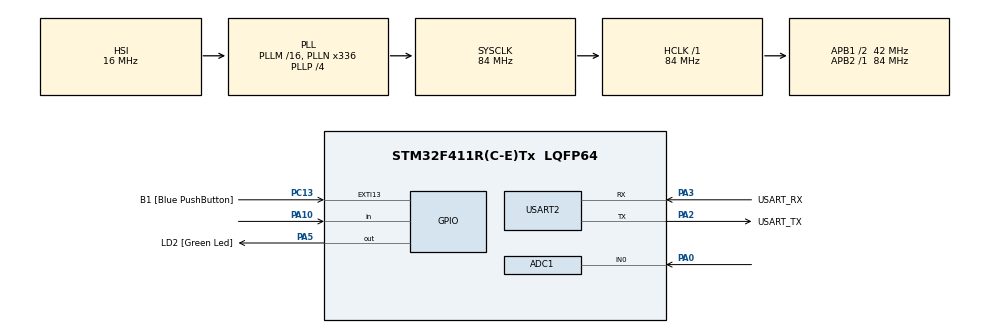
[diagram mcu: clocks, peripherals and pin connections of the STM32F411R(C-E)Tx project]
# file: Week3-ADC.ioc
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ADC1.Channel-0\#ChannelRegularConversion=ADC_CHANNEL_0
ADC1.NbrOfConversionFlag=1
ADC1.Rank-0\#ChannelRegularConversion=1
ADC1.SamplingTime-0\#ChannelRegularConversion=ADC_SAMPLETIME_3CYCLES
ADC1.master=1
Mcu.Family=STM32F4
Mcu.Name=STM32F411R(C-E)Tx
Mcu.Package=LQFP64
NVIC.PriorityGroup=NVIC_PRIORITYGROUP_0
PA0-WKUP.Signal=ADCx_IN0
PA10.Signal=GPIO_Input
PA13.GPIO_Label=TMS
PA13.Mode=Serial_Wire
PA13.Signal=SYS_JTMS-SWDIO
PA14.GPIO_Label=TCK
PA14.Mode=Serial_Wire
PA14.Signal=SYS_JTCK-SWCLK
PA2.GPIO_Label=USART_TX
PA2.Mode=Asynchronous
PA2.Signal=USART2_TX
PA3.GPIO_Label=USART_RX
PA3.Mode=Asynchronous
PA3.Signal=USART2_RX
PA5.GPIO_Label=LD2 [Green Led]
PA5.Signal=GPIO_Output
PB3.GPIO_Label=SWO
PB3.Signal=SYS_JTDO-SWO
PC13-ANTI_TAMP.GPIO_Label=B1 [Blue PushButton]
PC13-ANTI_TAMP.GPIO_ModeDefaultEXTI=GPIO_MODE_IT_FALLING
PC13-ANTI_TAMP.Signal=GPXTI13
PC14-OSC32_IN.Mode=LSE-External-Oscillator
PC14-OSC32_IN.Signal=RCC_OSC32_IN
PC15-OSC32_OUT.Mode=LSE-External-Oscillator
PC15-OSC32_OUT.Signal=RCC_OSC32_OUT
PH0\ -\ OSC_IN.Mode=HSE-External-Clock-Source
PH0\ -\ OSC_IN.Signal=RCC_OSC_IN
PH1\ -\ OSC_OUT.Mode=HSE-External-Clock-Source
PH1\ -\ OSC_OUT.Signal=RCC_OSC_OUT
ProjectManager.HeapSize=0x200
ProjectManager.StackSize=0x400
ProjectManager.TargetToolchain=STM32CubeIDE
RCC.48MHZClocksFreq_Value=84000000
RCC.AHBFreq_Value=84000000
RCC.APB1CLKDivider=RCC_HCLK_DIV2
RCC.APB1Freq_Value=42000000
RCC.APB1TimFreq_Value=84000000
RCC.APB2Freq_Value=84000000
RCC.APB2TimFreq_Value=84000000
RCC.CortexFreq_Value=84000000
RCC.FLatency-AdvancedSettings=FLASH_LATENCY_2
RCC.HCLKFreq_Value=84000000
RCC.HSE_VALUE=8000000
RCC.HSI_VALUE=16000000
RCC.PLLN=336
RCC.PLLP=RCC_PLLP_DIV4
RCC.SYSCLKFreq_VALUE=84000000
RCC.SYSCLKSource=RCC_SYSCLKSOURCE_PLLCLK
RCC.VCOOutputFreq_Value=336000000
SH.ADCx_IN0.0=ADC1_IN0,IN0
USART2.VirtualMode=VM_ASYNC
VP_ADC1_TempSens_Input.Mode=IN-TempSens
board=NUCLEO-F411RE

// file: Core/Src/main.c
/* USER CODE BEGIN Header */
/**
  ******************************************************************************
  * @file           : main.c
  * @brief          : Main program body
  ******************************************************************************
  * @attention
  *
  * <h2><center>&copy; Copyright (c) 2021 STMicroelectronics.
  * All rights reserved.</center></h2>
  *
  * This software component is licensed by ST under BSD 3-Clause license,
  * the "License"; You may not use this file except in compliance with the
  * License. You may obtain a copy of the License at:
  *                        opensource.org/licenses/BSD-3-Clause
  *
  ******************************************************************************
  */
/* USER CODE END Header */
#include "main.h"

ADC_HandleTypeDef hadc1;

UART_HandleTypeDef huart2;

/* USER CODE BEGIN PV */
typedef struct {
	ADC_ChannelConfTypeDef Config;
	uint16_t data;
} ADCStructure;

ADCStructure ADCChannel[2] = { 0 };

GPIO_PinState SwitchButton[2];
int ADCMode = 0;
uint32_t ButtonTimeStamp = 0;
float ADCOutputConverted = 0;
/* USER CODE END PV */

void SystemClock_Config(void);
static void MX_GPIO_Init(void);
static void MX_USART2_UART_Init(void);
static void MX_ADC1_Init(void);
/* USER CODE BEGIN PFP */
void ADCPollingMethodInit();
void ADCPollingMethodUpdate(); //Read ADC From 3 Source(In0,In1,Temp)
void ADCShowValue();
/* USER CODE END PFP */

int main(void)
{

  /* MCU Configuration--------------------------------------------------------*/

  /* Reset of all peripherals, Initializes the Flash interface and the Systick. */
  HAL_Init();

  /* Configure the system clock */
  SystemClock_Config();

  /* Initialize all configured peripherals */
  MX_GPIO_Init();
  MX_USART2_UART_Init();
  MX_ADC1_Init();
  /* USER CODE BEGIN 2 */
  ADCPollingMethodInit();
  /* USER CODE END 2 */

  /* Infinite loop */
  while (1)
  {

    /* USER CODE BEGIN 3 */
	//READ ANALOG
	ADCPollingMethodUpdate();
	ADCShowValue();
  }
  /* USER CODE END 3 */
}

void SystemClock_Config(void)
{
  RCC_OscInitTypeDef RCC_OscInitStruct = {0};
  RCC_ClkInitTypeDef RCC_ClkInitStruct = {0};

  /** Configure the main internal regulator output voltage
  */
  __HAL_RCC_PWR_CLK_ENABLE();
  __HAL_PWR_VOLTAGESCALING_CONFIG(PWR_REGULATOR_VOLTAGE_SCALE1);
  /** Initializes the RCC Oscillators according to the specified parameters
  * in the RCC_OscInitTypeDef structure.
  */
  RCC_OscInitStruct.OscillatorType = RCC_OSCILLATORTYPE_HSI;
  RCC_OscInitStruct.HSIState = RCC_HSI_ON;
  RCC_OscInitStruct.HSICalibrationValue = RCC_HSICALIBRATION_DEFAULT;
  RCC_OscInitStruct.PLL.PLLState = RCC_PLL_ON;
  RCC_OscInitStruct.PLL.PLLSource = RCC_PLLSOURCE_HSI;
  RCC_OscInitStruct.PLL.PLLM = 16;
  RCC_OscInitStruct.PLL.PLLN = 336;
  RCC_OscInitStruct.PLL.PLLP = RCC_PLLP_DIV4;
  RCC_OscInitStruct.PLL.PLLQ = 4;
  if (HAL_RCC_OscConfig(&RCC_OscInitStruct) != HAL_OK)
  {
    Error_Handler();
  }
  /** Initializes the CPU, AHB and APB buses clocks
  */
  RCC_ClkInitStruct.ClockType = RCC_CLOCKTYPE_HCLK|RCC_CLOCKTYPE_SYSCLK
                              |RCC_CLOCKTYPE_PCLK1|RCC_CLOCKTYPE_PCLK2;
  RCC_ClkInitStruct.SYSCLKSource = RCC_SYSCLKSOURCE_PLLCLK;
  RCC_ClkInitStruct.AHBCLKDivider = RCC_SYSCLK_DIV1;
  RCC_ClkInitStruct.APB1CLKDivider = RCC_HCLK_DIV2;
  RCC_ClkInitStruct.APB2CLKDivider = RCC_HCLK_DIV1;

  if (HAL_RCC_ClockConfig(&RCC_ClkInitStruct, FLASH_LATENCY_2) != HAL_OK)
  {
    Error_Handler();
  }
}

static void MX_ADC1_Init(void)
{

  ADC_ChannelConfTypeDef sConfig = {0};

  /** Configure the global features of the ADC (Clock, Resolution, Data Alignment and number of conversion)
  */
  hadc1.Instance = ADC1;
  hadc1.Init.ClockPrescaler = ADC_CLOCK_SYNC_PCLK_DIV4;
  hadc1.Init.Resolution = ADC_RESOLUTION_12B;
  hadc1.Init.ScanConvMode = DISABLE;
  hadc1.Init.ContinuousConvMode = DISABLE;
  hadc1.Init.DiscontinuousConvMode = DISABLE;
  hadc1.Init.ExternalTrigConvEdge = ADC_EXTERNALTRIGCONVEDGE_NONE;
  hadc1.Init.ExternalTrigConv = ADC_SOFTWARE_START;
  hadc1.Init.DataAlign = ADC_DATAALIGN_RIGHT;
  hadc1.Init.NbrOfConversion = 1;
  hadc1.Init.DMAContinuousRequests = DISABLE;
  hadc1.Init.EOCSelection = ADC_EOC_SINGLE_CONV;
  if (HAL_ADC_Init(&hadc1) != HAL_OK)
  {
    Error_Handler();
  }
  /** Configure for the selected ADC regular channel its corresponding rank in the sequencer and its sample time.
  */
  sConfig.Channel = ADC_CHANNEL_0;
  sConfig.Rank = 1;
  sConfig.SamplingTime = ADC_SAMPLETIME_3CYCLES;
  if (HAL_ADC_ConfigChannel(&hadc1, &sConfig) != HAL_OK)
  {
    Error_Handler();
  }

}

static void MX_USART2_UART_Init(void)
{

  huart2.Instance = USART2;
  huart2.Init.BaudRate = 115200;
  huart2.Init.WordLength = UART_WORDLENGTH_8B;
  huart2.Init.StopBits = UART_STOPBITS_1;
  huart2.Init.Parity = UART_PARITY_NONE;
  huart2.Init.Mode = UART_MODE_TX_RX;
  huart2.Init.HwFlowCtl = UART_HWCONTROL_NONE;
  huart2.Init.OverSampling = UART_OVERSAMPLING_16;
  if (HAL_UART_Init(&huart2) != HAL_OK)
  {
    Error_Handler();
  }

}

static void MX_GPIO_Init(void)
{
  GPIO_InitTypeDef GPIO_InitStruct = {0};

  /* GPIO Ports Clock Enable */
  __HAL_RCC_GPIOC_CLK_ENABLE();
  __HAL_RCC_GPIOH_CLK_ENABLE();
  __HAL_RCC_GPIOA_CLK_ENABLE();
  __HAL_RCC_GPIOB_CLK_ENABLE();

  /*Configure GPIO pin Output Level */
  HAL_GPIO_WritePin(LD2_GPIO_Port, LD2_Pin, GPIO_PIN_RESET);

  /*Configure GPIO pin : B1_Pin */
  GPIO_InitStruct.Pin = B1_Pin;
  GPIO_InitStruct.Mode = GPIO_MODE_IT_FALLING;
  GPIO_InitStruct.Pull = GPIO_NOPULL;
  HAL_GPIO_Init(B1_GPIO_Port, &GPIO_InitStruct);

  /*Configure GPIO pin : LD2_Pin */
  GPIO_InitStruct.Pin = LD2_Pin;
  GPIO_InitStruct.Mode = GPIO_MODE_OUTPUT_PP;
  GPIO_InitStruct.Pull = GPIO_NOPULL;
  GPIO_InitStruct.Speed = GPIO_SPEED_FREQ_LOW;
  HAL_GPIO_Init(LD2_GPIO_Port, &GPIO_InitStruct);

  /*Configure GPIO pin : PA10 */
  GPIO_InitStruct.Pin = GPIO_PIN_10;
  GPIO_InitStruct.Mode = GPIO_MODE_INPUT;
  GPIO_InitStruct.Pull = GPIO_NOPULL;
  HAL_GPIO_Init(GPIOA, &GPIO_InitStruct);

}

/* USER CODE BEGIN 4 */

void ADCPollingMethodInit() {
	//config all ADC Channel

	ADCChannel[0].Config.Channel = ADC_CHANNEL_0;
	ADCChannel[0].Config.Rank = 1;
	ADCChannel[0].Config.SamplingTime = ADC_SAMPLETIME_3CYCLES;

	ADCChannel[1].Config.Channel = ADC_CHANNEL_TEMPSENSOR;
	ADCChannel[1].Config.Rank = 1;
	ADCChannel[1].Config.SamplingTime = ADC_SAMPLETIME_3CYCLES;
}
void ADCPollingMethodUpdate() {
	//Read all 3 Channel
	for (int i = 0; i < 2; i++) {
		HAL_ADC_ConfigChannel(&hadc1, &ADCChannel[i].Config);
		HAL_ADC_Start(&hadc1);
		HAL_ADC_PollForConversion(&hadc1, 10);
		ADCChannel[i].data = HAL_ADC_GetValue(&hadc1);
		HAL_ADC_Stop(&hadc1);
	}
}
void ADCShowValue(){
	//DATA IS 12 BIT = 4096 Vref = 3.3V
	switch(ADCMode){
		case 0:
			//PA0 unit is mV
			ADCOutputConverted = ((3.3/4096.0)*ADCChannel[0].data)*1000.0;
			if(HAL_GetTick() - ButtonTimeStamp >= 120){
				ButtonTimeStamp = HAL_GetTick();
				SwitchButton[0] = HAL_GPIO_ReadPin(GPIOA, GPIO_PIN_10);
				if((SwitchButton[0] == GPIO_PIN_RESET)&&(SwitchButton[1] == GPIO_PIN_SET)){
					ADCMode = 1;
				}
			}
			break;
		case 1:
			//Temperature Current
			ADCOutputConverted = (((ADCChannel[1].data*(3.3/4096.0))-0.77)/25.0)+25.0;
			if(HAL_GetTick() - ButtonTimeStamp >= 120){
				ButtonTimeStamp = HAL_GetTick();
				SwitchButton[0] = HAL_GPIO_ReadPin(GPIOA, GPIO_PIN_10);
				if((SwitchButton[0] == GPIO_PIN_RESET)&&(SwitchButton[1] == GPIO_PIN_SET)){
					ADCMode = 0;
				}
			}
			break;
	}
	SwitchButton[1] = SwitchButton [0];

}

/* USER CODE END 4 */

void Error_Handler(void)
{
  __disable_irq();
  while (1)
  {
  }
}

/************************ (C) COPYRIGHT STMicroelectronics *****END OF FILE****/
